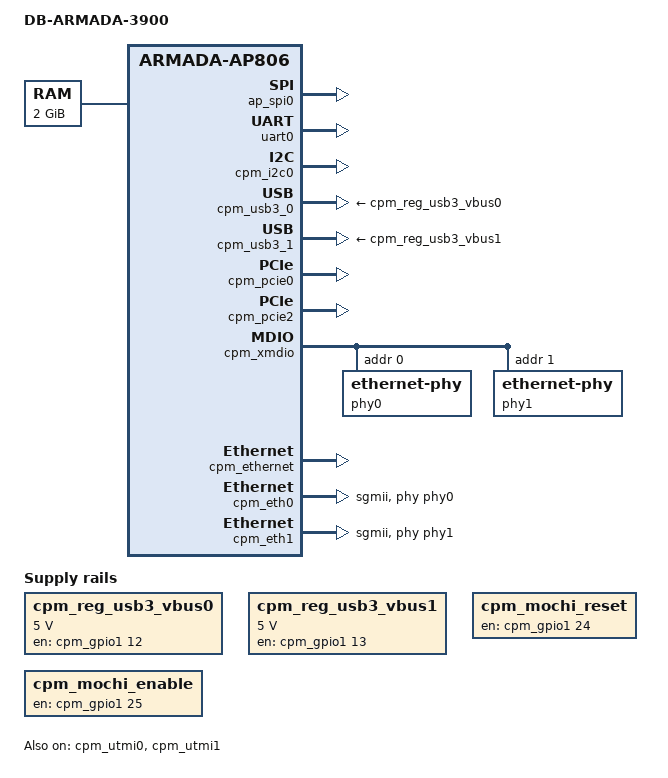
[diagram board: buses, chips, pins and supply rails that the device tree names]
/*
 * ***************************************************************************
 * Copyright (C) 2017 Marvell International Ltd.
 * ***************************************************************************
 * This program is free software: you can redistribute it and/or modify it
 * under the terms of the GNU General Public License as published by the Free
 * Software Foundation, either version 2 of the License, or any later version.
 *
 * This program is distributed in the hope that it will be useful,
 * but WITHOUT ANY WARRANTY; without even the implied warranty of
 * MERCHANTABILITY or FITNESS FOR A PARTICULAR PURPOSE.  See the
 * GNU General Public License for more details.
 *
 * You should have received a copy of the GNU General Public License
 * along with this program.  If not, see <http://www.gnu.org/licenses/>.
 * ***************************************************************************
 */

#include "armada-70x0.dtsi" /* include SoC device tree */
#include "armada-70x0-dev-info.dtsi" /* include Marvell specific info (S@R, MPP cmd) */

/ {
	model = "DB-ARMADA-3900";
	compatible = "marvell,armada7040", "marvell,armada-ap806-quad",
		     "marvell,armada-ap806";

	chosen {
		stdout-path = "serial0:115200n8";
	};

	aliases {
		i2c0 = &cpm_i2c0;
		spi0 = &ap_spi0;
	};

	memory@00000000 {
		device_type = "memory";
		reg = <0x0 0x0 0x0 0x80000000>;
	};

	cp110-master {
		config-space {
			cpm_reg_usb3_vbus0: cpm_usb3_vbus@0 {
				compatible = "regulator-fixed";
				pinctrl-names = "default";
				pinctrl-0 = <&cpm_xhci0_vbus_pins>;
				regulator-name = "cpm-xhci0-vbus";
				regulator-min-microvolt = <5000000>;
				regulator-max-microvolt = <5000000>;
				startup-delay-us = <100000>;
				enable-active-high;
				regulator-force-boot-off;
				gpio = <&cpm_gpio1 12 GPIO_ACTIVE_HIGH>;
			};

			cpm_reg_usb3_vbus1: cpm_usb3_vbus@1 {
				compatible = "regulator-fixed";
				pinctrl-names = "default";
				pinctrl-0 = <&cpm_xhci1_vbus_pins>;
				regulator-name = "cpm-xhci1-vbus";
				regulator-min-microvolt = <5000000>;
				regulator-max-microvolt = <5000000>;
				startup-delay-us = <100000>;
				enable-active-high;
				regulator-force-boot-off;
				gpio = <&cpm_gpio1 13 GPIO_ACTIVE_HIGH>;
			};

			cpm_mochi_reset: cpm_mochi_reset {
				compatible = "regulator-fixed";
				pinctrl-names = "default";
				pinctrl-0 = <&cpm_mochi_reset_pins>;
				regulator-name = "cpm-mochi-reset";
				enable-active-high;
				gpio = <&cpm_gpio1 24 GPIO_ACTIVE_HIGH>;
			};

			cpm_mochi_enable: cpm_mochi_enable {
				compatible = "regulator-fixed";
				pinctrl-names = "default";
				pinctrl-0 = <&cpm_mochi_enable_pins>;
				regulator-name = "cpm-mochi-enable";
				enable-active-high;
				gpio = <&cpm_gpio1 25 GPIO_ACTIVE_HIGH>;
			};
		};
	};
};


/*
 * AP related configuration
 */
&ap_pinctl {
		/* MPP Bus:
		 * SPI   [0-3]
		 * I2C   [4-5]
		 * UART0 [11,19]
		 */
		/*   0 1 2 3 4 5 6 7 8 9 */
	pin-func = < 3 3 3 3 3 3 0 0 0 0
		     0 3 0 0 0 0 0 0 0 3 >;
};

&ap_spi0 {
	status = "okay";
};

&uart0 {
	status = "okay";
};


/*
 * CP related configuration
 */
&cpm_pinctl {
	cpm_xhci0_vbus_pins: cpm-xhci0-vbus-pins {
		marvell,pins = <44>;
		marvell,function = <0>;
	};

	cpm_xhci1_vbus_pins: cpm-xhci1-vbus-pins {
		marvell,pins = <45>;
		marvell,function = <0>;
	};

	cpm_mochi_reset_pins: cpm-mochi-reset-pins {
		marvell,pins = <56>;
		marvell,function = <0>;
	};

	cpm_mochi_enable_pins: cpm-mochi-enable-pins {
		marvell,pins = <57>;
		marvell,function = <0>;
	};
};

&cpm_i2c0 {
	pinctrl-names = "default";
	pinctrl-0 = <&cpm_i2c0_pins>;
	status = "okay";
};

&cpm_utmi0 {
	status = "okay";
};

&cpm_utmi1 {
	status = "okay";
};

&cpm_usb3_0 {
	status = "okay";
	vbus-supply = <&cpm_reg_usb3_vbus0>;
	vbus-disable-delay = <500>;
};

&cpm_usb3_1 {
	status = "okay";
	vbus-supply = <&cpm_reg_usb3_vbus1>;
	vbus-disable-delay = <500>;
};

&cpm_pcie0 {
	status = "okay";
	ranges =
		/* downstream I/O */
		<0x81000000 0 0xf7000000 0  0xf7000000 0 0x10000
		/* non-prefetchable memory */
		0x82000000 0 0xf6000000 0  0xf6000000 0 0xf00000>;
};

&cpm_pcie2 {
	status = "okay";
	ranges =
		/* downstream I/O */
		<0x81000000 0 0xf7020000 0  0xf7020000 0 0x10000
		/* non-prefetchable memory */
		0x82000000 0 0xf8000000 0  0xf8000000 0 0xf00000>;
};

&cpm_comphy {
	phy0 {
		phy-type = <COMPHY_TYPE_PEX0>;
		phy-speed = <COMPHY_SPEED_5G>;
	};

	phy1 {
		phy-type = <COMPHY_TYPE_PEX0>;
		phy-speed = <COMPHY_SPEED_5G>;
	};

	phy2 {
		phy-type = <COMPHY_TYPE_SGMII0>;
		phy-speed = <COMPHY_SPEED_1_25G>;
	};

	phy3 {
		phy-type = <COMPHY_TYPE_SGMII1>;
		phy-speed = <COMPHY_SPEED_1_25G>;
	};

	phy4 {
		phy-type = <COMPHY_TYPE_USB3_HOST1>;
		phy-speed = <COMPHY_SPEED_5G>;
	};

	phy5 {
		phy-type = <COMPHY_TYPE_PEX2>;
		phy-speed = <COMPHY_SPEED_5G>;
	};
};

&cpm_xmdio {
	status = "okay";
	phy0: ethernet-phy@0 {
		reg = <0>;
	};
	phy1: ethernet-phy@1 {
		reg = <1>;
	};
};

&cpm_ethernet {
	status = "okay";
};

&cpm_eth0 {
	status = "okay";
	phy-mode = "sgmii";
	phy = <&phy0>;
};

&cpm_eth1 {
	status = "okay";
	phy-mode = "sgmii";
	phy = <&phy1>;
};

